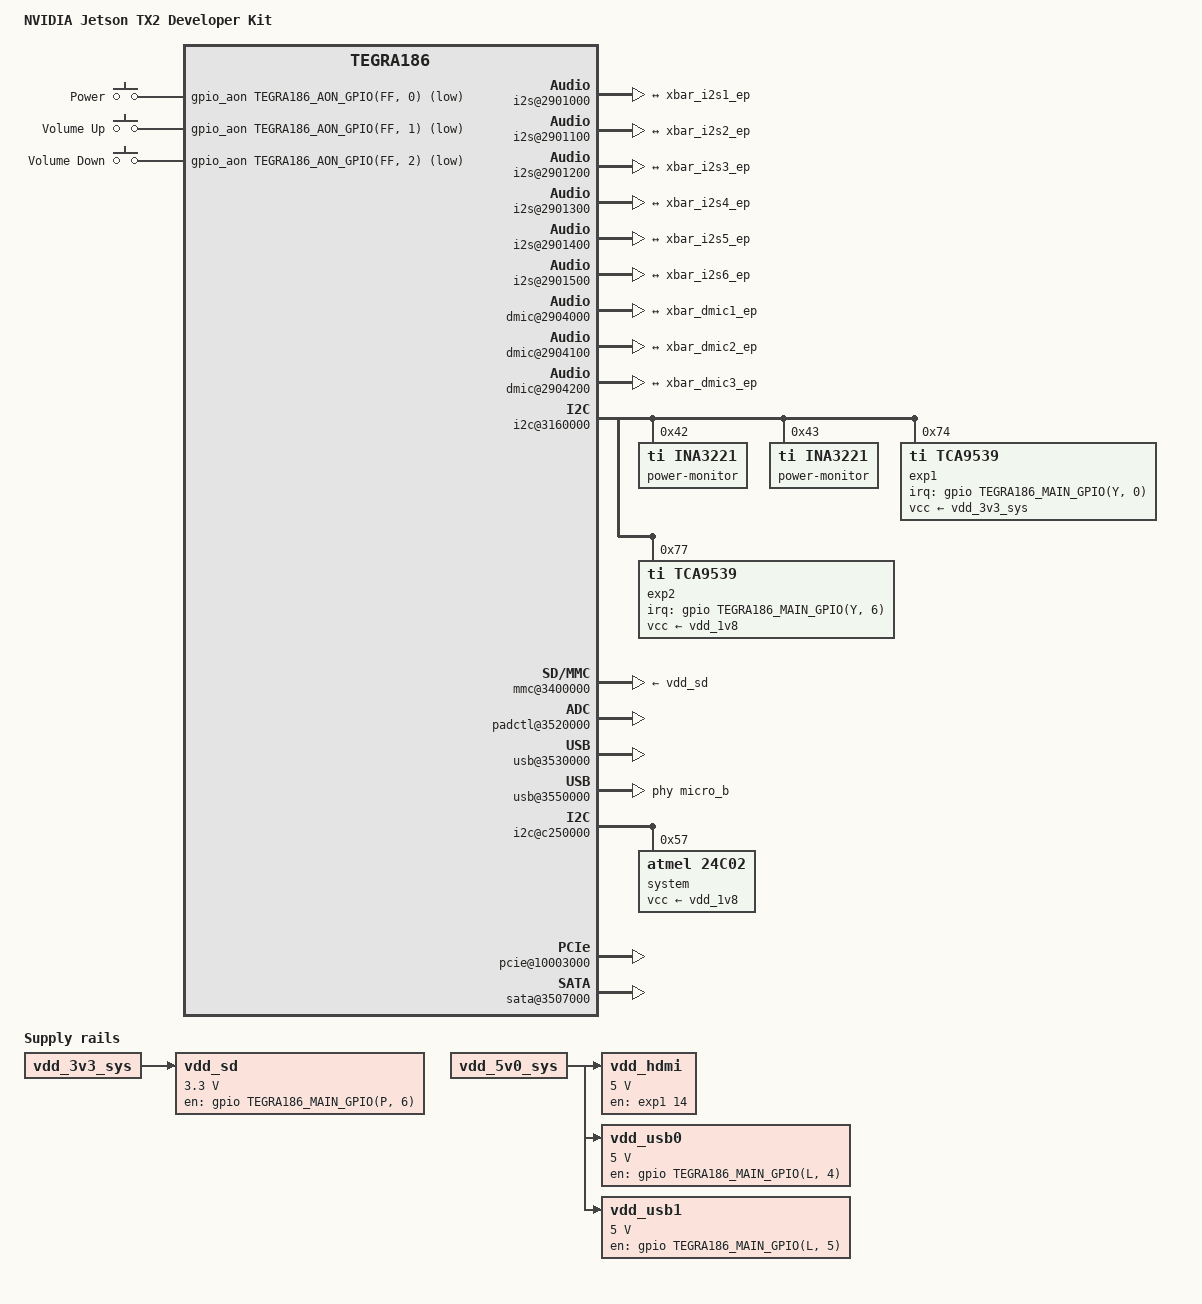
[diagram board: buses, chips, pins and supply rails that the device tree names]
// SPDX-License-Identifier: GPL-2.0
/dts-v1/;

#include <dt-bindings/input/linux-event-codes.h>
#include <dt-bindings/input/gpio-keys.h>

#include "tegra186-p3310.dtsi"

/ {
	model = "NVIDIA Jetson TX2 Developer Kit";
	compatible = "nvidia,p2771-0000", "nvidia,tegra186";

	aconnect@2900000 {
		status = "okay";

		dma-controller@2930000 {
			status = "okay";
		};

		interrupt-controller@2a40000 {
			status = "okay";
		};

		ahub@2900800 {
			status = "okay";

			ports {
				#address-cells = <1>;
				#size-cells = <0>;

				port@0 {
					reg = <0x0>;

					xbar_admaif0_ep: endpoint {
						remote-endpoint = <&admaif0_ep>;
					};
				};

				port@1 {
					reg = <0x1>;

					xbar_admaif1_ep: endpoint {
						remote-endpoint = <&admaif1_ep>;
					};
				};

				port@2 {
					reg = <0x2>;

					xbar_admaif2_ep: endpoint {
						remote-endpoint = <&admaif2_ep>;
					};
				};

				port@3 {
					reg = <0x3>;

					xbar_admaif3_ep: endpoint {
						remote-endpoint = <&admaif3_ep>;
					};
				};

				port@4 {
					reg = <0x4>;

					xbar_admaif4_ep: endpoint {
						remote-endpoint = <&admaif4_ep>;
					};
				};

				port@5 {
					reg = <0x5>;

					xbar_admaif5_ep: endpoint {
						remote-endpoint = <&admaif5_ep>;
					};
				};

				port@6 {
					reg = <0x6>;

					xbar_admaif6_ep: endpoint {
						remote-endpoint = <&admaif6_ep>;
					};
				};

				port@7 {
					reg = <0x7>;

					xbar_admaif7_ep: endpoint {
						remote-endpoint = <&admaif7_ep>;
					};
				};

				port@8 {
					reg = <0x8>;

					xbar_admaif8_ep: endpoint {
						remote-endpoint = <&admaif8_ep>;
					};
				};

				port@9 {
					reg = <0x9>;

					xbar_admaif9_ep: endpoint {
						remote-endpoint = <&admaif9_ep>;
					};
				};

				port@a {
					reg = <0xa>;

					xbar_admaif10_ep: endpoint {
						remote-endpoint = <&admaif10_ep>;
					};
				};

				port@b {
					reg = <0xb>;

					xbar_admaif11_ep: endpoint {
						remote-endpoint = <&admaif11_ep>;
					};
				};

				port@c {
					reg = <0xc>;

					xbar_admaif12_ep: endpoint {
						remote-endpoint = <&admaif12_ep>;
					};
				};

				port@d {
					reg = <0xd>;

					xbar_admaif13_ep: endpoint {
						remote-endpoint = <&admaif13_ep>;
					};
				};

				port@e {
					reg = <0xe>;

					xbar_admaif14_ep: endpoint {
						remote-endpoint = <&admaif14_ep>;
					};
				};

				port@f {
					reg = <0xf>;

					xbar_admaif15_ep: endpoint {
						remote-endpoint = <&admaif15_ep>;
					};
				};

				port@10 {
					reg = <0x10>;

					xbar_admaif16_ep: endpoint {
						remote-endpoint = <&admaif16_ep>;
					};
				};

				port@11 {
					reg = <0x11>;

					xbar_admaif17_ep: endpoint {
						remote-endpoint = <&admaif17_ep>;
					};
				};

				port@12 {
					reg = <0x12>;

					xbar_admaif18_ep: endpoint {
						remote-endpoint = <&admaif18_ep>;
					};
				};

				port@13 {
					reg = <0x13>;

					xbar_admaif19_ep: endpoint {
						remote-endpoint = <&admaif19_ep>;
					};
				};

				xbar_i2s1_port: port@14 {
					reg = <0x14>;

					xbar_i2s1_ep: endpoint {
						remote-endpoint = <&i2s1_cif_ep>;
					};
				};

				xbar_i2s2_port: port@15 {
					reg = <0x15>;

					xbar_i2s2_ep: endpoint {
						remote-endpoint = <&i2s2_cif_ep>;
					};
				};

				xbar_i2s3_port: port@16 {
					reg = <0x16>;

					xbar_i2s3_ep: endpoint {
						remote-endpoint = <&i2s3_cif_ep>;
					};
				};

				xbar_i2s4_port: port@17 {
					reg = <0x17>;

					xbar_i2s4_ep: endpoint {
						remote-endpoint = <&i2s4_cif_ep>;
					};
				};

				xbar_i2s5_port: port@18 {
					reg = <0x18>;

					xbar_i2s5_ep: endpoint {
						remote-endpoint = <&i2s5_cif_ep>;
					};
				};

				xbar_i2s6_port: port@19 {
					reg = <0x19>;

					xbar_i2s6_ep: endpoint {
						remote-endpoint = <&i2s6_cif_ep>;
					};
				};

				xbar_dmic1_port: port@1a {
					reg = <0x1a>;

					xbar_dmic1_ep: endpoint {
						remote-endpoint = <&dmic1_cif_ep>;
					};
				};

				xbar_dmic2_port: port@1b {
					reg = <0x1b>;

					xbar_dmic2_ep: endpoint {
						remote-endpoint = <&dmic2_cif_ep>;
					};
				};

				xbar_dmic3_port: port@1c {
					reg = <0x1c>;

					xbar_dmic3_ep: endpoint {
						remote-endpoint = <&dmic3_cif_ep>;
					};
				};

				xbar_dspk1_port: port@1e {
					reg = <0x1e>;

					xbar_dspk1_ep: endpoint {
						remote-endpoint = <&dspk1_cif_ep>;
					};
				};

				xbar_dspk2_port: port@1f {
					reg = <0x1f>;

					xbar_dspk2_ep: endpoint {
						remote-endpoint = <&dspk2_cif_ep>;
					};
				};
			};

			admaif@290f000 {
				status = "okay";

				ports {
					#address-cells = <1>;
					#size-cells = <0>;

					admaif0_port: port@0 {
						reg = <0x0>;

						admaif0_ep: endpoint {
							remote-endpoint = <&xbar_admaif0_ep>;
						};
					};

					admaif1_port: port@1 {
						reg = <0x1>;

						admaif1_ep: endpoint {
							remote-endpoint = <&xbar_admaif1_ep>;
						};
					};

					admaif2_port: port@2 {
						reg = <0x2>;

						admaif2_ep: endpoint {
							remote-endpoint = <&xbar_admaif2_ep>;
						};
					};

					admaif3_port: port@3 {
						reg = <0x3>;

						admaif3_ep: endpoint {
							remote-endpoint = <&xbar_admaif3_ep>;
						};
					};

					admaif4_port: port@4 {
						reg = <0x4>;

						admaif4_ep: endpoint {
							remote-endpoint = <&xbar_admaif4_ep>;
						};
					};

					admaif5_port: port@5 {
						reg = <0x5>;

						admaif5_ep: endpoint {
							remote-endpoint = <&xbar_admaif5_ep>;
						};
					};

					admaif6_port: port@6 {
						reg = <0x6>;

						admaif6_ep: endpoint {
							remote-endpoint = <&xbar_admaif6_ep>;
						};
					};

					admaif7_port: port@7 {
						reg = <0x7>;

						admaif7_ep: endpoint {
							remote-endpoint = <&xbar_admaif7_ep>;
						};
					};

					admaif8_port: port@8 {
						reg = <0x8>;

						admaif8_ep: endpoint {
							remote-endpoint = <&xbar_admaif8_ep>;
						};
					};

					admaif9_port: port@9 {
						reg = <0x9>;

						admaif9_ep: endpoint {
							remote-endpoint = <&xbar_admaif9_ep>;
						};
					};

					admaif10_port: port@a {
						reg = <0xa>;

						admaif10_ep: endpoint {
							remote-endpoint = <&xbar_admaif10_ep>;
						};
					};

					admaif11_port: port@b {
						reg = <0xb>;

						admaif11_ep: endpoint {
							remote-endpoint = <&xbar_admaif11_ep>;
						};
					};

					admaif12_port: port@c {
						reg = <0xc>;

						admaif12_ep: endpoint {
							remote-endpoint = <&xbar_admaif12_ep>;
						};
					};

					admaif13_port: port@d {
						reg = <0xd>;

						admaif13_ep: endpoint {
							remote-endpoint = <&xbar_admaif13_ep>;
						};
					};

					admaif14_port: port@e {
						reg = <0xe>;

						admaif14_ep: endpoint {
							remote-endpoint = <&xbar_admaif14_ep>;
						};
					};

					admaif15_port: port@f {
						reg = <0xf>;

						admaif15_ep: endpoint {
							remote-endpoint = <&xbar_admaif15_ep>;
						};
					};

					admaif16_port: port@10 {
						reg = <0x10>;

						admaif16_ep: endpoint {
							remote-endpoint = <&xbar_admaif16_ep>;
						};
					};

					admaif17_port: port@11 {
						reg = <0x11>;

						admaif17_ep: endpoint {
							remote-endpoint = <&xbar_admaif17_ep>;
						};
					};

					admaif18_port: port@12 {
						reg = <0x12>;

						admaif18_ep: endpoint {
							remote-endpoint = <&xbar_admaif18_ep>;
						};
					};

					admaif19_port: port@13 {
						reg = <0x13>;

						admaif19_ep: endpoint {
							remote-endpoint = <&xbar_admaif19_ep>;
						};
					};
				};
			};

			i2s@2901000 {
				status = "okay";

				ports {
					#address-cells = <1>;
					#size-cells = <0>;

					port@0 {
						reg = <0>;

						i2s1_cif_ep: endpoint {
							remote-endpoint = <&xbar_i2s1_ep>;
						};
					};

					i2s1_port: port@1 {
						reg = <1>;

						i2s1_dap_ep: endpoint {
							dai-format = "i2s";
							/* Placeholder for external Codec */
						};
					};
				};
			};

			i2s@2901100 {
				status = "okay";

				ports {
					#address-cells = <1>;
					#size-cells = <0>;

					port@0 {
						reg = <0>;

						i2s2_cif_ep: endpoint {
							remote-endpoint = <&xbar_i2s2_ep>;
						};
					};

					i2s2_port: port@1 {
						reg = <1>;

						i2s2_dap_ep: endpoint {
							dai-format = "i2s";
							/* Placeholder for external Codec */
						};
					};
				};
			};

			i2s@2901200 {
				status = "okay";

				ports {
					#address-cells = <1>;
					#size-cells = <0>;

					port@0 {
						reg = <0>;

						i2s3_cif_ep: endpoint {
							remote-endpoint = <&xbar_i2s3_ep>;
						};
					};

					i2s3_port: port@1 {
						reg = <1>;

						i2s3_dap_ep: endpoint {
							dai-format = "i2s";
							/* Placeholder for external Codec */
						};
					};
				};
			};

			i2s@2901300 {
				status = "okay";

				ports {
					#address-cells = <1>;
					#size-cells = <0>;

					port@0 {
						reg = <0>;

						i2s4_cif_ep: endpoint {
							remote-endpoint = <&xbar_i2s4_ep>;
						};
					};

					i2s4_port: port@1 {
						reg = <1>;

						i2s4_dap_ep: endpoint {
							dai-format = "i2s";
							/* Placeholder for external Codec */
						};
					};
				};
			};

			i2s@2901400 {
				status = "okay";

				ports {
					#address-cells = <1>;
					#size-cells = <0>;

					port@0 {
						reg = <0>;

						i2s5_cif_ep: endpoint {
							remote-endpoint = <&xbar_i2s5_ep>;
						};
					};

					i2s5_port: port@1 {
						reg = <1>;

						i2s5_dap_ep: endpoint {
							dai-format = "i2s";
							/* Placeholder for external Codec */
						};
					};
				};
			};

			i2s@2901500 {
				status = "okay";

				ports {
					#address-cells = <1>;
					#size-cells = <0>;

					port@0 {
						reg = <0>;

						i2s6_cif_ep: endpoint {
							remote-endpoint = <&xbar_i2s6_ep>;
						};
					};

					i2s6_port: port@1 {
						reg = <1>;

						i2s6_dap_ep: endpoint {
							dai-format = "i2s";
							/* Placeholder for external Codec */
						};
					};
				};
			};

			dmic@2904000 {
				status = "okay";

				ports {
					#address-cells = <1>;
					#size-cells = <0>;

					port@0 {
						reg = <0>;

						dmic1_cif_ep: endpoint {
							remote-endpoint = <&xbar_dmic1_ep>;
						};
					};

					dmic1_port: port@1 {
						reg = <1>;

						dmic1_dap_ep: endpoint {
							/* Place holder for external Codec */
						};
					};
				};
			};

			dmic@2904100 {
				status = "okay";

				ports {
					#address-cells = <1>;
					#size-cells = <0>;

					port@0 {
						reg = <0>;

						dmic2_cif_ep: endpoint {
							remote-endpoint = <&xbar_dmic2_ep>;
						};
					};

					dmic2_port: port@1 {
						reg = <1>;

						dmic2_dap_ep: endpoint {
							/* Place holder for external Codec */
						};
					};
				};
			};

			dmic@2904200 {
				status = "okay";

				ports {
					#address-cells = <1>;
					#size-cells = <0>;

					port@0 {
						reg = <0>;

						dmic3_cif_ep: endpoint {
							remote-endpoint = <&xbar_dmic3_ep>;
						};
					};

					dmic3_port: port@1 {
						reg = <1>;

						dmic3_dap_ep: endpoint {
							/* Place holder for external Codec */
						};
					};
				};
			};

			dspk@2905000 {
				status = "okay";

				ports {
					#address-cells = <1>;
					#size-cells = <0>;

					port@0 {
						reg = <0>;

						dspk1_cif_ep: endpoint {
							remote-endpoint = <&xbar_dspk1_ep>;
						};
					};

					dspk1_port: port@1 {
						reg = <1>;

						dspk1_dap_ep: endpoint {
							/* Place holder for external Codec */
						};
					};
				};
			};

			dspk@2905100 {
				status = "okay";

				ports {
					#address-cells = <1>;
					#size-cells = <0>;

					port@0 {
						reg = <0>;

						dspk2_cif_ep: endpoint {
							remote-endpoint = <&xbar_dspk2_ep>;
						};
					};

					dspk2_port: port@1 {
						reg = <1>;

						dspk2_dap_ep: endpoint {
							/* Place holder for external Codec */
						};
					};
				};
			};
		};
	};

	i2c@3160000 {
		power-monitor@42 {
			compatible = "ti,ina3221";
			reg = <0x42>;
			#address-cells = <1>;
			#size-cells = <0>;

			channel@0 {
				reg = <0x0>;
				label = "VDD_MUX";
				shunt-resistor-micro-ohms = <20000>;
			};

			channel@1 {
				reg = <0x1>;
				label = "VDD_5V0_IO_SYS";
				shunt-resistor-micro-ohms = <5000>;
			};

			channel@2 {
				reg = <0x2>;
				label = "VDD_3V3_SYS";
				shunt-resistor-micro-ohms = <10000>;
			};
		};

		power-monitor@43 {
			compatible = "ti,ina3221";
			reg = <0x43>;
			#address-cells = <1>;
			#size-cells = <0>;

			channel@0 {
				reg = <0x0>;
				label = "VDD_3V3_IO_SLP";
				shunt-resistor-micro-ohms = <10000>;
			};

			channel@1 {
				reg = <0x1>;
				label = "VDD_1V8_IO";
				shunt-resistor-micro-ohms = <10000>;
			};

			channel@2 {
				reg = <0x2>;
				label = "VDD_M2_IN";
				shunt-resistor-micro-ohms = <10000>;
			};
		};

		exp1: gpio@74 {
			compatible = "ti,tca9539";
			reg = <0x74>;

			interrupt-parent = <&gpio>;
			interrupts = <TEGRA186_MAIN_GPIO(Y, 0)
				      GPIO_ACTIVE_LOW>;

			#gpio-cells = <2>;
			gpio-controller;

			vcc-supply = <&vdd_3v3_sys>;
		};

		exp2: gpio@77 {
			compatible = "ti,tca9539";
			reg = <0x77>;

			interrupt-parent = <&gpio>;
			interrupts = <TEGRA186_MAIN_GPIO(Y, 6)
				      GPIO_ACTIVE_LOW>;

			#gpio-cells = <2>;
			gpio-controller;

			vcc-supply = <&vdd_1v8>;
		};
	};

	/* SDMMC1 (SD/MMC) */
	mmc@3400000 {
		status = "okay";

		vmmc-supply = <&vdd_sd>;
	};

	hda@3510000 {
		nvidia,model = "NVIDIA Jetson TX2 HDA";
		status = "okay";
	};

	padctl@3520000 {
		status = "okay";

		avdd-pll-erefeut-supply = <&vdd_1v8_pll>;
		avdd-usb-supply = <&vdd_3v3_sys>;
		vclamp-usb-supply = <&vdd_1v8>;
		vddio-hsic-supply = <&gnd>;

		pads {
			usb2 {
				status = "okay";

				lanes {
					micro_b: usb2-0 {
						nvidia,function = "xusb";
						status = "okay";
					};

					usb2-1 {
						nvidia,function = "xusb";
						status = "okay";
					};

					usb2-2 {
						nvidia,function = "xusb";
						status = "okay";
					};
				};
			};

			usb3 {
				status = "okay";

				lanes {
					usb3-0 {
						nvidia,function = "xusb";
						status = "okay";
					};

					usb3-1 {
						nvidia,function = "xusb";
						status = "okay";
					};

					usb3-2 {
						nvidia,function = "xusb";
						status = "okay";
					};
				};
			};
		};

		ports {
			usb2-0 {
				status = "okay";
				mode = "otg";
				vbus-supply = <&vdd_usb0>;
				usb-role-switch;

				connector {
					compatible = "gpio-usb-b-connector",
						     "usb-b-connector";
					label = "micro-USB";
					type = "micro";
					vbus-gpios = <&gpio
						      TEGRA186_MAIN_GPIO(X, 7)
						      GPIO_ACTIVE_LOW>;
					id-gpios = <&pmic 0 GPIO_ACTIVE_HIGH>;
				};
			};

			usb2-1 {
				status = "okay";
				mode = "host";

				vbus-supply = <&vdd_usb1>;
			};

			usb3-0 {
				nvidia,usb2-companion = <1>;
				vbus-supply = <&vdd_usb1>;
				status = "okay";
			};
		};
	};

	usb@3530000 {
		status = "okay";

		phys = <&{/padctl@3520000/pads/usb2/lanes/usb2-0}>,
		       <&{/padctl@3520000/pads/usb2/lanes/usb2-1}>,
		       <&{/padctl@3520000/pads/usb3/lanes/usb3-0}>;
		phy-names = "usb2-0", "usb2-1", "usb3-0";
	};

	usb@3550000 {
		status = "okay";

		phys = <&micro_b>;
		phy-names = "usb2-0";
	};

	i2c@c250000 {
		/* carrier board ID EEPROM */
		eeprom@57 {
			compatible = "atmel,24c02";
			reg = <0x57>;

			label = "system";
			vcc-supply = <&vdd_1v8>;
			address-width = <8>;
			pagesize = <8>;
			size = <256>;
			read-only;
		};
	};

	pcie@10003000 {
		status = "okay";

		dvdd-pex-supply = <&vdd_pex>;
		hvdd-pex-pll-supply = <&vdd_1v8>;
		hvdd-pex-supply = <&vdd_1v8>;
		vddio-pexctl-aud-supply = <&vdd_1v8>;

		pci@1,0 {
			nvidia,num-lanes = <4>;
			status = "okay";
		};

		pci@2,0 {
			nvidia,num-lanes = <0>;
			status = "disabled";
		};

		pci@3,0 {
			nvidia,num-lanes = <1>;
			status = "disabled";
		};
	};

	host1x@13e00000 {
		status = "okay";

		dpaux@15040000 {
			status = "okay";
		};

		display-hub@15200000 {
			status = "okay";
		};

		dsi@15300000 {
			status = "disabled";
		};

		/* DP on E3320 */
		sor@15540000 {
			status = "okay";

			avdd-io-hdmi-dp-supply = <&vdd_hdmi_1v05>;
			vdd-hdmi-dp-pll-supply = <&vdd_1v8_ap>;

			nvidia,dpaux = <&dpaux>;
		};

		sor@15580000 {
			status = "okay";

			avdd-io-hdmi-dp-supply = <&vdd_hdmi_1v05>;
			vdd-hdmi-dp-pll-supply = <&vdd_1v8_ap>;
			hdmi-supply = <&vdd_hdmi>;

			nvidia,ddc-i2c-bus = <&ddc>;
			nvidia,hpd-gpio = <&gpio TEGRA186_MAIN_GPIO(P, 1)
						 GPIO_ACTIVE_LOW>;
		};

		dpaux@155c0000 {
			status = "okay";
		};
	};

	sata@3507000 {
		status = "okay";
	};

	gpio-keys {
		compatible = "gpio-keys";

		power {
			label = "Power";
			gpios = <&gpio_aon TEGRA186_AON_GPIO(FF, 0)
					   GPIO_ACTIVE_LOW>;
			linux,input-type = <EV_KEY>;
			linux,code = <KEY_POWER>;
			debounce-interval = <10>;
			wakeup-event-action = <EV_ACT_ASSERTED>;
			wakeup-source;
		};

		volume-up {
			label = "Volume Up";
			gpios = <&gpio_aon TEGRA186_AON_GPIO(FF, 1)
					   GPIO_ACTIVE_LOW>;
			linux,input-type = <EV_KEY>;
			linux,code = <KEY_VOLUMEUP>;
			debounce-interval = <10>;
		};

		volume-down {
			label = "Volume Down";
			gpios = <&gpio_aon TEGRA186_AON_GPIO(FF, 2)
					   GPIO_ACTIVE_LOW>;
			linux,input-type = <EV_KEY>;
			linux,code = <KEY_VOLUMEDOWN>;
			debounce-interval = <10>;
		};
	};

	vdd_sd: regulator@100 {
		compatible = "regulator-fixed";
		regulator-name = "SD_CARD_SW_PWR";
		regulator-min-microvolt = <3300000>;
		regulator-max-microvolt = <3300000>;

		gpio = <&gpio TEGRA186_MAIN_GPIO(P, 6) GPIO_ACTIVE_HIGH>;
		enable-active-high;

		vin-supply = <&vdd_3v3_sys>;
	};

	vdd_hdmi: regulator@101 {
		compatible = "regulator-fixed";
		regulator-name = "VDD_HDMI_5V0";
		regulator-min-microvolt = <5000000>;
		regulator-max-microvolt = <5000000>;

		gpio = <&exp1 14 GPIO_ACTIVE_HIGH>;
		enable-active-high;

		vin-supply = <&vdd_5v0_sys>;
	};

	vdd_usb0: regulator@102 {
		compatible = "regulator-fixed";
		regulator-name = "VDD_USB0";
		regulator-min-microvolt = <5000000>;
		regulator-max-microvolt = <5000000>;

		gpio = <&gpio TEGRA186_MAIN_GPIO(L, 4) GPIO_ACTIVE_HIGH>;
		enable-active-high;

		vin-supply = <&vdd_5v0_sys>;
	};

	vdd_usb1: regulator@103 {
		compatible = "regulator-fixed";
		regulator-name = "VDD_USB1";
		regulator-min-microvolt = <5000000>;
		regulator-max-microvolt = <5000000>;

		gpio = <&gpio TEGRA186_MAIN_GPIO(L, 5) GPIO_ACTIVE_HIGH>;
		enable-active-high;

		vin-supply = <&vdd_5v0_sys>;
	};

	sound {
		compatible = "nvidia,tegra186-audio-graph-card";
		status = "okay";

		dais = /* FE */
		       <&admaif0_port>, <&admaif1_port>, <&admaif2_port>, <&admaif3_port>,
		       <&admaif4_port>, <&admaif5_port>, <&admaif6_port>, <&admaif7_port>,
		       <&admaif8_port>, <&admaif9_port>, <&admaif10_port>, <&admaif11_port>,
		       <&admaif12_port>, <&admaif13_port>, <&admaif14_port>, <&admaif15_port>,
		       <&admaif16_port>, <&admaif17_port>, <&admaif18_port>, <&admaif19_port>,
		       /* Router */
		       <&xbar_i2s1_port>, <&xbar_i2s2_port>, <&xbar_i2s3_port>,
		       <&xbar_i2s4_port>, <&xbar_i2s5_port>, <&xbar_i2s6_port>,
		       <&xbar_dmic1_port>, <&xbar_dmic2_port>, <&xbar_dmic3_port>,
		       <&xbar_dspk1_port>, <&xbar_dspk2_port>,
		       /* I/O */
		       <&i2s1_port>, <&i2s2_port>, <&i2s3_port>, <&i2s4_port>,
		       <&i2s5_port>, <&i2s6_port>, <&dmic1_port>, <&dmic2_port>,
		       <&dmic3_port>, <&dspk1_port>, <&dspk2_port>;

		label = "NVIDIA Jetson TX2 APE";
	};
};
